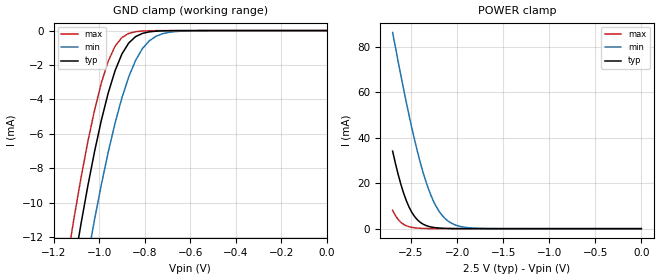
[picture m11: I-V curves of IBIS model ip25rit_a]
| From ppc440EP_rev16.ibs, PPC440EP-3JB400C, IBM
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| [File]   ip25rit_a.ibs
| [File Rev]   1.4
| [Date]   Sat Aug 17 06:25:20 EDT 2002
| [Source]   File originated at IMD in Burlington, VT USA
[Model]   ip25rit_a
Model_type   Input
Vinl  = 0.7V
Vinh  = 1.7V
|   typ   min   max
C_comp   0.61pF   0.55pF  0.66pF
[Temperature Range]   50.00   125.00   0.00
[Voltage Range]   2.500   2.300   2.700
|   typ   min   max
|[Supply]   VDD   1.5   1.4   1.6
|[Supply]   VDD250   2.50   2.30   2.70
[Add Submodel]
| Submodel Name   Mode
Up.ip25rit_a   Non-Driving
Dn.ip25rit_a   Non-Driving
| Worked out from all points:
|   GND clamp passes 1 mA (typ) near -0.88 V on its own axis
|   POWER clamp passes 1 mA (typ) near -2.31 V on its own axis
[POWER_Clamp]   | Note: Vtable = Vcc - Vout
| Voltage   I(typ)   I(min)   I(max)
-2.7V     34.17mA    86.47mA    8.087mA
-2.61V    19.48mA    67.43mA    2.771mA
-2.55V    12.21mA    55.4mA     1.257mA
-2.46V    5.265mA    38.85mA    365uA
-2.37V    2mA        24.87mA    103uA
-2.31V    1.007mA    17.4mA     44uA
-2.25V    499uA      11.56mA    19uA
-2.19V    245uA      7.31mA     8uA
-2.1V     83uA       3.407mA    2uA
-1.98V    20uA       1.124mA    0A
-1.77V    2uA        147uA      0A
0V        0A         0A         0A
[GND_Clamp]   | Note: Vtable = Vout
| Voltage   I(typ)   I(min)   I(max)
-2.7V     -180.1mA   -182.8mA   -178.6mA
-1.14V    -16.12mA   -20.43mA   -13.35mA
-1.11V    -13.63mA   -17.91mA   -10.89mA
-1.08V    -11.28mA   -15.49mA   -8.598mA
-1.05V    -9.063mA   -13.17mA   -6.493mA
-1.02V    -7.029mA   -10.98mA   -4.62mA
-960mV    -3.623mA   -7.061mA   -1.775mA
-930mV    -2.33mA    -5.375mA   -906uA
-870mV    -720uA     -2.686mA   -164uA
-780mV    -74uA      -596uA     -10uA
-630mV    -1uA       -27uA      0A
0V        0A         0A         0A
